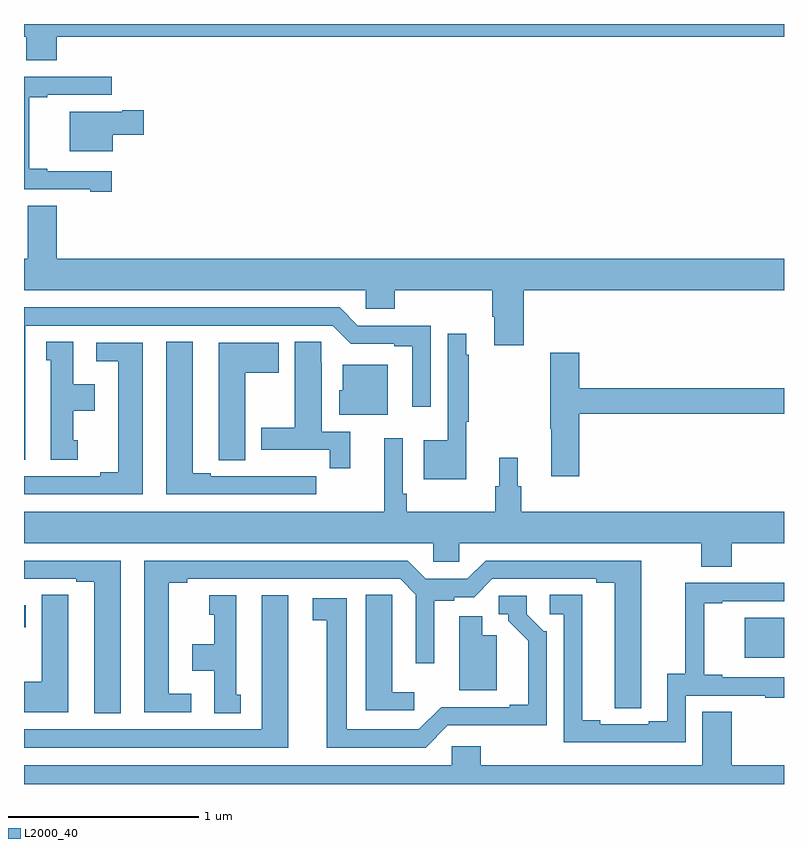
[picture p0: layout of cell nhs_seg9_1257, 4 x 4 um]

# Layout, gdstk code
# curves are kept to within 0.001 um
import gdstk
lib = gdstk.Library(unit=1e-6, precision=1e-09)
def R(c, l, rs):  # rectangles x0, y0, x1, y1
    for r in rs: c.add(gdstk.rectangle(r[:2], r[2:], *l))
def P(c, l, *ps):  # polygons
    for p in ps: c.add(gdstk.Polygon(p, *l))
L2000_40 = (2000, 40)

nhs_seg9_1257 = lib.new_cell('nhs_seg9_1257')
R(nhs_seg9_1257, L2000_40, [(184.793,1181.165,185,1181.374), (181,1181.326,181.009,1181.442)])
P(nhs_seg9_1257, L2000_40, [(181.172,1184.432),(185,1184.432),(185,1184.5),(181,1184.5),(181,1184.432),(181.012,1184.432),(181.012,1184.308),(181.172,1184.308)],
  [(181.462,1183.725),(181.123,1183.725),(181.123,1183.738),(181.028,1183.738),(181.028,1184.115),(181.123,1184.115),(181.123,1184.127),(181.462,1184.127),(181.462,1184.223),(181,1184.223),(181,1183.629),(181.349,1183.629),(181.349,1183.617),(181.462,1183.617)],
  [(181.468,1183.916),(181.63,1183.916),(181.63,1184.046),(181.517,1184.046),(181.517,1184.038),(181.241,1184.038),(181.241,1183.829),(181.468,1183.829)],
  [(183.629,1183.1),(185,1183.1),(185,1183.264),(181.172,1183.264),(181.172,1183.544),(181.019,1183.544),(181.019,1183.264),(181,1183.264),(181,1183.1),(182.799,1183.1),(182.799,1183.002),(182.951,1183.002),(182.951,1183.1),(183.464,1183.1),(183.464,1182.958),(183.476,1182.958),(183.476,1182.81),(183.629,1182.81)],
  [(181.006,1182.912),(182.625,1182.912),(182.721,1182.816),(182.948,1182.816),(182.948,1182.804),(183.044,1182.804),(183.044,1182.486),(183.141,1182.486),(183.141,1182.912),(182.757,1182.912),(182.661,1183.008),(181,1183.008),(181,1182.207),(181.006,1182.207)],
  [(183.328,1182.406),(183.34,1182.406),(183.34,1182.758),(183.328,1182.758),(183.328,1182.871),(183.231,1182.871),(183.231,1182.31),(183.104,1182.31),(183.104,1182.104),(183.328,1182.104)],
  [(182.717,1182.354),(182.566,1182.354),(182.566,1182.716),(182.565,1182.716),(182.565,1182.827),(182.426,1182.827),(182.426,1182.375),(182.249,1182.375),(182.249,1182.258),(182.608,1182.258),(182.608,1182.162),(182.717,1182.162)],
  [(182.539,1182.12),(182.426,1182.12),(182.426,1182.121),(182.26,1182.121),(182.26,1182.12),(181.984,1182.12),(181.984,1182.135),(181.888,1182.135),(181.888,1182.827),(181.748,1182.827),(181.748,1182.024),(182.539,1182.024)],
  [(181.282,1182.309),(181.258,1182.309),(181.258,1182.464),(181.372,1182.464),(181.372,1182.604),(181.258,1182.604),(181.258,1182.827),(181.118,1182.827),(181.118,1182.729),(181.142,1182.729),(181.142,1182.207),(181.282,1182.207)],
  [(182.164,1182.664),(182.341,1182.664),(182.341,1182.823),(182.024,1182.823),(182.024,1182.313),(182.025,1182.313),(182.025,1182.205),(182.164,1182.205)],
  [(181.624,1182.822),(181.38,1182.822),(181.38,1182.726),(181.496,1182.726),(181.496,1182.14),(181.4,1182.14),(181.4,1182.12),(181,1182.12),(181,1182.024),(181.624,1182.024)],
  [(183.923,1182.448),(185,1182.448),(185,1182.584),(183.923,1182.584),(183.923,1182.769),(183.769,1182.769),(183.769,1182.371),(183.776,1182.371),(183.776,1182.12),(183.923,1182.12)],
  [(182.914,1182.706),(182.678,1182.706),(182.678,1182.573),(182.66,1182.573),(182.66,1182.443),(182.914,1182.443)],
  [(184.724,1181.768),(185,1181.768),(185,1181.932),(183.617,1181.932),(183.617,1182.066),(183.598,1182.066),(183.598,1182.217),(183.5,1182.217),(183.5,1182.066),(183.481,1182.066),(183.481,1181.932),(183.014,1181.932),(183.014,1182.028),(182.994,1182.028),(182.994,1182.319),(182.897,1182.319),(182.897,1181.932),(181,1181.932),(181,1181.768),(183.153,1181.768),(183.153,1181.67),(183.291,1181.67),(183.291,1181.768),(184.564,1181.768),(184.564,1181.644),(184.724,1181.644)],
  [(181.879,1180.974),(181.762,1180.974),(181.762,1181.56),(181.858,1181.56),(181.858,1181.58),(182.979,1181.58),(183.063,1181.496),(183.063,1181.136),(183.16,1181.136),(183.16,1181.464),(183.264,1181.464),(183.264,1181.484),(183.369,1181.484),(183.465,1181.58),(184.013,1181.58),(184.013,1181.56),(184.109,1181.56),(184.109,1180.9),(184.248,1180.9),(184.249,1181.676),(183.429,1181.676),(183.333,1181.58),(183.115,1181.58),(183.019,1181.676),(181.634,1181.676),(181.634,1180.878),(181.879,1180.878)],
  [(181.51,1181.676),(181,1181.676),(181,1181.58),(181.274,1181.58),(181.274,1181.565),(181.37,1181.565),(181.37,1180.873),(181.51,1180.873)],
  [(184.482,1180.965),(184.901,1180.965),(184.901,1180.953),(185,1180.953),(185,1181.061),(184.675,1181.061),(184.675,1181.074),(184.58,1181.074),(184.58,1181.451),(184.675,1181.451),(184.675,1181.463),(185,1181.463),(185,1181.559),(184.48,1181.559),(184.48,1181.081),(184.385,1181.081),(184.385,1180.83),(184.289,1180.83),(184.289,1180.815),(184.033,1180.815),(184.033,1180.835),(183.937,1180.835),(183.937,1181.495),(183.768,1181.495),(183.768,1181.394),(183.84,1181.394),(183.84,1180.719),(184.482,1180.719)],
  [(181.234,1181.387),(181.233,1181.387),(181.233,1181.495),(181.094,1181.495),(181.094,1181.037),(181,1181.037),(181,1180.877),(181.234,1180.877)],
  [(183.055,1180.984),(182.938,1180.984),(182.938,1181.387),(182.937,1181.387),(182.937,1181.495),(182.798,1181.495),(182.798,1180.887),(183.055,1180.887)],
  [(182.392,1181.494),(182.252,1181.494),(182.252,1180.788),(181,1180.788),(181,1180.692),(182.392,1180.692)],
  [(182.14,1180.971),(182.116,1180.971),(182.116,1181.494),(181.976,1181.494),(181.976,1181.391),(182,1181.391),(182,1181.236),(181.886,1181.236),(181.886,1181.096),(182,1181.096),(182,1180.873),(182.14,1180.873)],
  [(183.231,1180.809),(183.75,1180.808),(183.75,1181.304),(183.735,1181.304),(183.645,1181.394),(183.645,1181.49),(183.498,1181.49),(183.498,1181.394),(183.548,1181.394),(183.548,1181.359),(183.653,1181.254),(183.653,1180.918),(183.557,1180.918),(183.557,1180.905),(183.195,1180.905),(183.078,1180.788),(182.698,1180.788),(182.698,1181.478),(182.52,1181.478),(182.52,1181.362),(182.594,1181.362),(182.594,1180.692),(183.114,1180.692)],
  [(183.487,1181.284),(183.412,1181.284),(183.412,1181.383),(183.29,1181.383),(183.29,1180.994),(183.487,1180.994)],
  [(185,1180.6),(184.724,1180.6),(184.724,1180.88),(184.571,1180.88),(184.571,1180.6),(183.404,1180.6),(183.404,1180.698),(183.252,1180.698),(183.252,1180.6),(181,1180.6),(181,1180.5),(185,1180.5)])

lib.write_gds('nhs_seg9_1257.gds')
